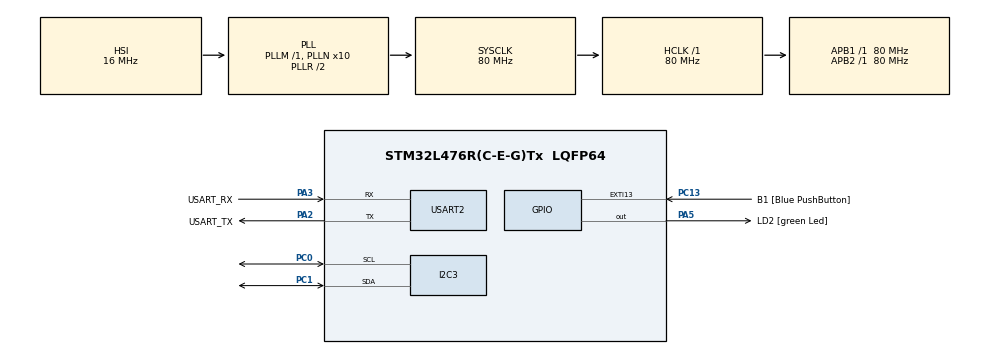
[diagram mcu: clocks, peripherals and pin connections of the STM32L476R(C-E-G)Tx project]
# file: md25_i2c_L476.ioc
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I2C3.Timing=0x10D19CE4
Mcu.Family=STM32L4
Mcu.Name=STM32L476R(C-E-G)Tx
Mcu.Package=LQFP64
NVIC.PriorityGroup=NVIC_PRIORITYGROUP_4
PA13\ (JTMS-SWDIO).GPIO_Label=TMS
PA13\ (JTMS-SWDIO).Mode=Serial_Wire
PA13\ (JTMS-SWDIO).Signal=SYS_JTMS-SWDIO
PA14\ (JTCK-SWCLK).GPIO_Label=TCK
PA14\ (JTCK-SWCLK).Mode=Serial_Wire
PA14\ (JTCK-SWCLK).Signal=SYS_JTCK-SWCLK
PA2.GPIO_Label=USART_TX
PA2.GPIO_Mode=GPIO_MODE_AF_PP
PA2.GPIO_PuPd=GPIO_NOPULL
PA2.GPIO_Speed=GPIO_SPEED_FREQ_VERY_HIGH
PA2.Mode=Asynchronous
PA2.Signal=USART2_TX
PA3.GPIO_Label=USART_RX
PA3.GPIO_Mode=GPIO_MODE_AF_PP
PA3.GPIO_PuPd=GPIO_NOPULL
PA3.GPIO_Speed=GPIO_SPEED_FREQ_VERY_HIGH
PA3.Mode=Asynchronous
PA3.Signal=USART2_RX
PA5.GPIO_Label=LD2 [green Led]
PA5.GPIO_ModeDefaultOutputPP=GPIO_MODE_OUTPUT_PP
PA5.GPIO_PuPd=GPIO_NOPULL
PA5.GPIO_Speed=GPIO_SPEED_FREQ_LOW
PA5.Signal=GPIO_Output
PB3\ (JTDO-TRACESWO).GPIO_Label=SWO
PB3\ (JTDO-TRACESWO).Signal=SYS_JTDO-SWO
PC0.GPIO_Pu=GPIO_PULLUP
PC0.Mode=I2C
PC0.Signal=I2C3_SCL
PC1.GPIO_Pu=GPIO_PULLUP
PC1.Mode=I2C
PC1.Signal=I2C3_SDA
PC13.GPIO_Label=B1 [Blue PushButton]
PC13.GPIO_ModeDefaultEXTI=GPIO_MODE_IT_FALLING
PC13.GPIO_PuPd=GPIO_NOPULL
PC13.Signal=GPXTI13
PC14-OSC32_IN\ (PC14).Mode=LSE-External-Oscillator
PC14-OSC32_IN\ (PC14).Signal=RCC_OSC32_IN
PC15-OSC32_OUT\ (PC15).Mode=LSE-External-Oscillator
PC15-OSC32_OUT\ (PC15).Signal=RCC_OSC32_OUT
PH0-OSC_IN\ (PH0).Signal=RCC_OSC_IN
PH1-OSC_OUT\ (PH1).Signal=RCC_OSC_OUT
ProjectManager.HeapSize=0x200
ProjectManager.StackSize=0x400
ProjectManager.TargetToolchain=STM32CubeIDE
RCC.ADCFreq_Value=64000000
RCC.AHBFreq_Value=80000000
RCC.APB1Freq_Value=80000000
RCC.APB1TimFreq_Value=80000000
RCC.APB2Freq_Value=80000000
RCC.APB2TimFreq_Value=80000000
RCC.CortexFreq_Value=80000000
RCC.HCLKFreq_Value=80000000
RCC.HSE_VALUE=8000000
RCC.HSI_VALUE=16000000
RCC.MSI_VALUE=4000000
RCC.PLLN=10
RCC.PLLSourceVirtual=RCC_PLLSOURCE_HSI
RCC.PREFETCH_ENABLE=1
RCC.SYSCLKFreq_VALUE=80000000
RCC.SYSCLKSource=RCC_SYSCLKSOURCE_PLLCLK
RCC.USBFreq_Value=64000000
RCC.VCOOutputFreq_Value=160000000
USART2.VirtualMode-Asynchronous=VM_ASYNC
board=NUCLEO-L476RG

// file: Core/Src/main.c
/* USER CODE BEGIN Header */
/**
 ******************************************************************************
 * @file           : main.c
 * @brief          : Main program body
 ******************************************************************************
 * @attention
 *
 * Copyright (c) 2024 STMicroelectronics.
 * All rights reserved.
 *
 * This software is licensed under terms that can be found in the LICENSE file
 * in the root directory of this software component.
 * If no LICENSE file comes with this software, it is provided AS-IS.
 *
 ******************************************************************************
 */
/* USER CODE END Header */
#include "main.h"

/* USER CODE BEGIN Includes */
#include <string.h>
#include <stdio.h>
#define track_width 0.128 //  the distance between the wheels)
#define CMD                 0x00              //  MD25 command byte of 0

#define WRITESP1            0x31                    // Byte writes speed to motor 1
#define WRITESP2            0x32                    // Byte writes speed to motor 2
#define WRITEACCEL          0x33                    // Byte writes a value of acceleration
#define RESETREG            0x35                    // Byte resets encoders
#define SETMODE             0x34                    // Byte sets mode
#define READIVS             0x2C                    // Byte reads motor currents and battery voltage
#define READENCS            0x25                    // Byte reads both encoders
/* USER CODE END Includes */

/* USER CODE BEGIN PD */
#define md25_address (MD25ADDRESS<<1)
/* USER CODE END PD */

I2C_HandleTypeDef hi2c3;

UART_HandleTypeDef huart2;

/* USER CODE BEGIN PV */
char UART_str[100] = "Hello World From OSNY\r\n";
/* USER CODE END PV */

void SystemClock_Config(void);
static void MX_GPIO_Init(void);
static void MX_USART2_UART_Init(void);
static void MX_I2C3_Init(void);
/* USER CODE BEGIN PFP */
// Adresse I2C du MD25 (7 bits déplacée à gauche pour HAL)
#define MD25_ADDR (0x58 << 1)

// *****************************************************
// ATTENTION stm32 ==> md2 : SCL --> PC0, SDA --> PC1
// ATTENTION : minimum PULL-UP dans ioc
// *****************************************************
void i2c_write (uint8_t reg, uint8_t value)
{
    HAL_StatusTypeDef ret = HAL_OK;
	uint8_t data[2]={reg, value};

	ret = HAL_I2C_Master_Transmit (&hi2c3, md25_address, data, 2, HAL_MAX_DELAY);
	 if ( ret != HAL_OK ) {
	    sprintf(UART_str,"md25->error-Tx >> %d \r\n", ret);
	    HAL_UART_Transmit(&huart2, (unsigned char *)UART_str, strlen(UART_str), 10);
	 }
}
/* USER CODE END PFP */

int main(void)
{

  /* MCU Configuration--------------------------------------------------------*/

  /* Reset of all peripherals, Initializes the Flash interface and the Systick. */
  HAL_Init();

  /* Configure the system clock */
  SystemClock_Config();

  /* Initialize all configured peripherals */
  MX_GPIO_Init();
  MX_USART2_UART_Init();
  MX_I2C3_Init();
  /* USER CODE BEGIN 2 */

  i2c_write (SPEED2, 150);
  i2c_write (SPEED1, 150);
  HAL_Delay(1500);

  i2c_write (SPEED2, 160);
  i2c_write (SPEED1, 150);
  HAL_Delay(1500);

  i2c_write (SPEED2, 170);
  i2c_write (SPEED1, 150);
  HAL_Delay(1500);

  i2c_write (SPEED2, 180);
  i2c_write (SPEED1, 150);
  HAL_Delay(1500);

  /* USER CODE END 2 */

  /* Infinite loop */
  /* USER CODE BEGIN WHILE */
  while (1)
  {
	  i2c_write (SPEED2, 150);
	  i2c_write (SPEED1, 200);
	  HAL_Delay(1500);
    /* USER CODE END WHILE */

	}
}

void SystemClock_Config(void)
{
  RCC_OscInitTypeDef RCC_OscInitStruct = {0};
  RCC_ClkInitTypeDef RCC_ClkInitStruct = {0};

  /** Configure the main internal regulator output voltage
  */
  if (HAL_PWREx_ControlVoltageScaling(PWR_REGULATOR_VOLTAGE_SCALE1) != HAL_OK)
  {
    Error_Handler();
  }

  /** Initializes the RCC Oscillators according to the specified parameters
  * in the RCC_OscInitTypeDef structure.
  */
  RCC_OscInitStruct.OscillatorType = RCC_OSCILLATORTYPE_HSI;
  RCC_OscInitStruct.HSIState = RCC_HSI_ON;
  RCC_OscInitStruct.HSICalibrationValue = RCC_HSICALIBRATION_DEFAULT;
  RCC_OscInitStruct.PLL.PLLState = RCC_PLL_ON;
  RCC_OscInitStruct.PLL.PLLSource = RCC_PLLSOURCE_HSI;
  RCC_OscInitStruct.PLL.PLLM = 1;
  RCC_OscInitStruct.PLL.PLLN = 10;
  RCC_OscInitStruct.PLL.PLLP = RCC_PLLP_DIV7;
  RCC_OscInitStruct.PLL.PLLQ = RCC_PLLQ_DIV2;
  RCC_OscInitStruct.PLL.PLLR = RCC_PLLR_DIV2;
  if (HAL_RCC_OscConfig(&RCC_OscInitStruct) != HAL_OK)
  {
    Error_Handler();
  }

  /** Initializes the CPU, AHB and APB buses clocks
  */
  RCC_ClkInitStruct.ClockType = RCC_CLOCKTYPE_HCLK|RCC_CLOCKTYPE_SYSCLK
                              |RCC_CLOCKTYPE_PCLK1|RCC_CLOCKTYPE_PCLK2;
  RCC_ClkInitStruct.SYSCLKSource = RCC_SYSCLKSOURCE_PLLCLK;
  RCC_ClkInitStruct.AHBCLKDivider = RCC_SYSCLK_DIV1;
  RCC_ClkInitStruct.APB1CLKDivider = RCC_HCLK_DIV1;
  RCC_ClkInitStruct.APB2CLKDivider = RCC_HCLK_DIV1;

  if (HAL_RCC_ClockConfig(&RCC_ClkInitStruct, FLASH_LATENCY_4) != HAL_OK)
  {
    Error_Handler();
  }
}

static void MX_I2C3_Init(void)
{

  hi2c3.Instance = I2C3;
  hi2c3.Init.Timing = 0x10D19CE4;
  hi2c3.Init.OwnAddress1 = 0;
  hi2c3.Init.AddressingMode = I2C_ADDRESSINGMODE_7BIT;
  hi2c3.Init.DualAddressMode = I2C_DUALADDRESS_DISABLE;
  hi2c3.Init.OwnAddress2 = 0;
  hi2c3.Init.OwnAddress2Masks = I2C_OA2_NOMASK;
  hi2c3.Init.GeneralCallMode = I2C_GENERALCALL_DISABLE;
  hi2c3.Init.NoStretchMode = I2C_NOSTRETCH_DISABLE;
  if (HAL_I2C_Init(&hi2c3) != HAL_OK)
  {
    Error_Handler();
  }

  /** Configure Analogue filter
  */
  if (HAL_I2CEx_ConfigAnalogFilter(&hi2c3, I2C_ANALOGFILTER_ENABLE) != HAL_OK)
  {
    Error_Handler();
  }

  /** Configure Digital filter
  */
  if (HAL_I2CEx_ConfigDigitalFilter(&hi2c3, 0) != HAL_OK)
  {
    Error_Handler();
  }

}

static void MX_USART2_UART_Init(void)
{

  huart2.Instance = USART2;
  huart2.Init.BaudRate = 115200;
  huart2.Init.WordLength = UART_WORDLENGTH_8B;
  huart2.Init.StopBits = UART_STOPBITS_1;
  huart2.Init.Parity = UART_PARITY_NONE;
  huart2.Init.Mode = UART_MODE_TX_RX;
  huart2.Init.HwFlowCtl = UART_HWCONTROL_NONE;
  huart2.Init.OverSampling = UART_OVERSAMPLING_16;
  huart2.Init.OneBitSampling = UART_ONE_BIT_SAMPLE_DISABLE;
  huart2.AdvancedInit.AdvFeatureInit = UART_ADVFEATURE_NO_INIT;
  if (HAL_UART_Init(&huart2) != HAL_OK)
  {
    Error_Handler();
  }

}

static void MX_GPIO_Init(void)
{
  GPIO_InitTypeDef GPIO_InitStruct = {0};

  /* GPIO Ports Clock Enable */
  __HAL_RCC_GPIOC_CLK_ENABLE();
  __HAL_RCC_GPIOH_CLK_ENABLE();
  __HAL_RCC_GPIOA_CLK_ENABLE();
  __HAL_RCC_GPIOB_CLK_ENABLE();

  /*Configure GPIO pin Output Level */
  HAL_GPIO_WritePin(LD2_GPIO_Port, LD2_Pin, GPIO_PIN_RESET);

  /*Configure GPIO pin : B1_Pin */
  GPIO_InitStruct.Pin = B1_Pin;
  GPIO_InitStruct.Mode = GPIO_MODE_IT_FALLING;
  GPIO_InitStruct.Pull = GPIO_NOPULL;
  HAL_GPIO_Init(B1_GPIO_Port, &GPIO_InitStruct);

  /*Configure GPIO pin : LD2_Pin */
  GPIO_InitStruct.Pin = LD2_Pin;
  GPIO_InitStruct.Mode = GPIO_MODE_OUTPUT_PP;
  GPIO_InitStruct.Pull = GPIO_NOPULL;
  GPIO_InitStruct.Speed = GPIO_SPEED_FREQ_LOW;
  HAL_GPIO_Init(LD2_GPIO_Port, &GPIO_InitStruct);

}

void Error_Handler(void)
{
	__disable_irq();
	while (1)
	{
	}
}
